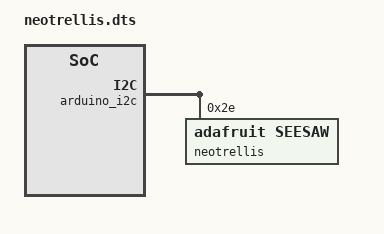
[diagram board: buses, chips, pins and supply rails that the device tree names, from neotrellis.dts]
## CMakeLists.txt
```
# Copyright (c) 2024 Titouan Christophe
# SPDX-License-Identifier: Apache-2.0

set(DTC_OVERLAY_FILE neotrellis.dts)

cmake_minimum_required(VERSION 3.20.0)

find_package(Zephyr REQUIRED HINTS $ENV{ZEPHYR_BASE})

project(neotrellis)
FILE(GLOB app_sources src/*.c)
target_sources(app PRIVATE ${app_sources})
```

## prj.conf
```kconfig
CONFIG_LOG=y
CONFIG_I2C=y
CONFIG_LED=y
CONFIG_INPUT=y

CONFIG_SHELL=y
CONFIG_LED_SHELL=y
CONFIG_INPUT_SHELL=y
```

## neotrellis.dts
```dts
/*
 * Copyright (c) 2024 Titouan Christophe
 *
 * SPDX-License-Identifier: Apache-2.0
 */

#include <zephyr/dt-bindings/led/led.h>

&arduino_i2c {
	neotrellis: seesaw@2e {
		compatible = "adafruit,seesaw";
		reg = <0x2e>;
		status = "okay";

		neotrellis_keypad: seesaw-keypad {
			compatible = "adafruit,seesaw-keypad";
			status = "okay";
		};

		neotrellis_neopixel: seesaw-neopixel {
			compatible = "adafruit,seesaw-neopixel";
			status = "okay";
			output-pin = <3>;
			chain-length = <16>;
			color-mapping = <LED_COLOR_ID_GREEN LED_COLOR_ID_RED LED_COLOR_ID_BLUE>;
		};
	};
};
```

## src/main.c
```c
/*
 * Copyright (c) 2024 Titouan Christophe
 *
 * SPDX-License-Identifier: Apache-2.0
 */

#include <zephyr/drivers/led.h>
#include <zephyr/input/input.h>

#include <zephyr/logging/log.h>
LOG_MODULE_REGISTER(main, LOG_LEVEL_INF);

const struct device *neopixel = DEVICE_DT_GET(DT_NODELABEL(neotrellis_neopixel));

static void input_cb(struct input_event *evt, void *user_data)
{
	size_t led_num = ((evt->code >> 1) & 0xc) | (evt->code & 0x3);
	if (evt->value) {
		led_on(neopixel, led_num);
	} else {
		led_off(neopixel, led_num);
	}
}

INPUT_CALLBACK_DEFINE(DEVICE_DT_GET(DT_NODELABEL(neotrellis_keypad)), input_cb, NULL);

int main()
{
	return 0;
}
```
